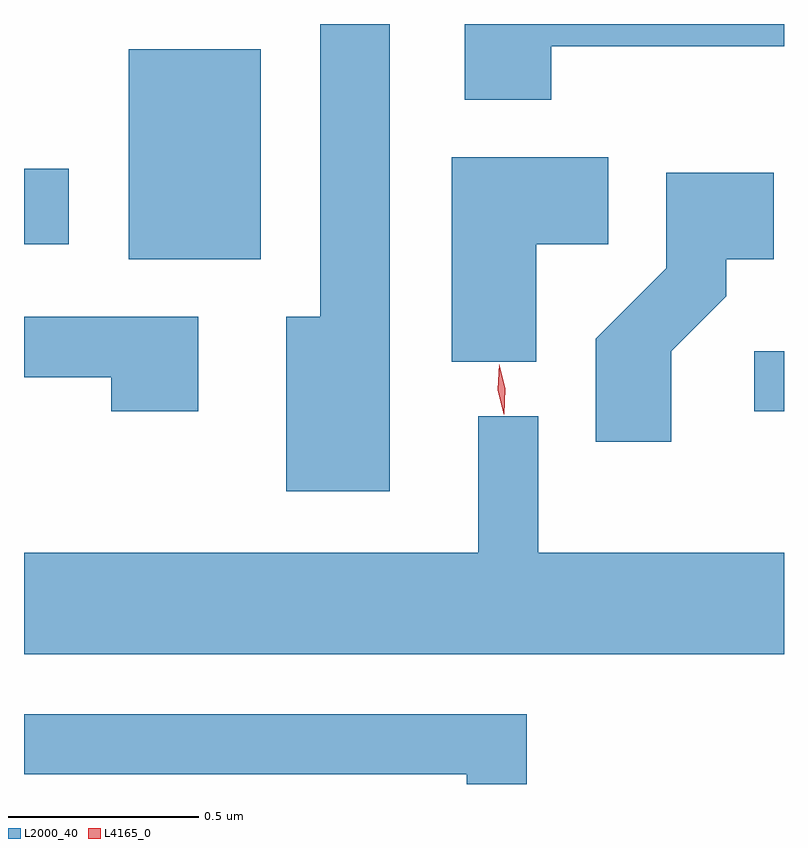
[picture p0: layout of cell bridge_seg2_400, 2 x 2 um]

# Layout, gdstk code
import gdstk
lib = gdstk.Library(unit=1e-6, precision=1e-09)
def R(c, l, rs):  # rectangles x0, y0, x1, y1
    for r in rs: c.add(gdstk.rectangle(r[:2], r[2:], *l))
def P(c, l, *ps):  # polygons
    for p in ps: c.add(gdstk.Polygon(p, *l))
L2000_40 = (2000, 40)
L4165_0 = (4165, 0)

bridge_seg2_400 = lib.new_cell('bridge_seg2_400')
R(bridge_seg2_400, L2000_40, [(601.623,1006.776,601.701,1006.934), (599.976,1007.176,600.324,1007.729), (599.701,1007.216,599.819,1007.414)])
P(bridge_seg2_400, L2000_40, [(600.664,1007.795),(600.481,1007.795),(600.481,1007.024),(600.391,1007.024),(600.391,1006.566),(600.664,1006.566)],
  [(601.089,1007.736),(601.701,1007.736),(601.701,1007.795),(600.861,1007.795),(600.861,1007.596),(601.089,1007.596)],
  [(601.049,1007.216),(601.239,1007.216),(601.239,1007.444),(600.826,1007.444),(600.826,1006.906),(601.049,1006.906)],
  [(601.404,1006.934),(601.549,1007.079),(601.549,1007.176),(601.674,1007.176),(601.674,1007.404),(601.391,1007.404),(601.391,1007.152),(601.206,1006.967),(601.206,1006.696),(601.404,1006.696)],
  [(600.159,1007.024),(599.701,1007.024),(599.701,1006.866),(599.931,1006.866),(599.931,1006.776),(600.159,1006.776)],
  [(601.701,1006.404),(601.054,1006.404),(601.054,1006.763),(600.896,1006.763),(600.896,1006.404),(599.701,1006.404),(599.701,1006.136),(601.701,1006.136)],
  [(601.024,1005.979),(599.701,1005.979),(599.701,1005.821),(600.866,1005.821),(600.866,1005.795),(601.024,1005.795)])
P(bridge_seg2_400, L4165_0, [(600.964,1006.768),(600.964,1006.768),(600.948,1006.833),(600.951,1006.9),(600.952,1006.9),(600.952,1006.9),(600.968,1006.835),(600.965,1006.768)])

lib.write_gds('bridge_seg2_400.gds')
